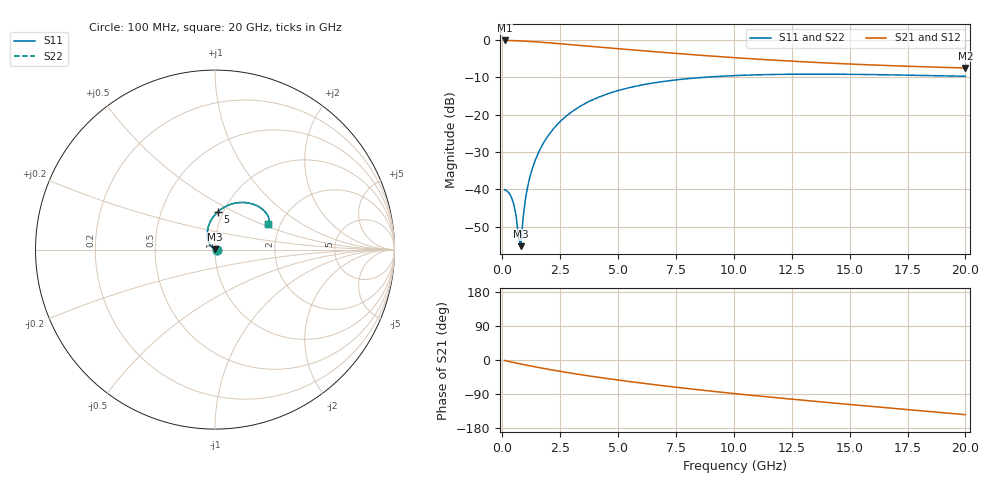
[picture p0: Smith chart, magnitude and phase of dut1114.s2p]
! Touchstone file exported from HFSS 2024.1.0
!  File:  C:/UserFiles/LocalFiles/RDL_TSV_Batchsim/temp_RDL_TSV_1114_1780104220.aedt
!  Generated:  09:35:02 AM May 30, 2026
!  Design:  RDL_TSV
!  Project:  temp_RDL_TSV_1114_1780104220
!  Setup:  Setup1
!  Solution:  Sweep
! Variables:
!  dtsv = 7.99um
!  hbump = 3um
!  htsv = 93.74um
!  ldown = 240.33um
!  lrdl = 233.29um
!  p = 40
!  p1 = 51.81um
!  rhole = 10um
!  subl = 1654.15um
!  t = 450um
!  tdown = 3.57um
!  trdl = 4.26um
!  viad = 10um
!  wdown = 20.47um
!  wrdl = 14.76um
!  xbump = 18um
# GHz S MA R 50.000000
! Terminal data exported
! Port[1] = TM1_1_T1
! Port[2] = TM1_4_T1
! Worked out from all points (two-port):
!   200 points, 100 MHz to 20 GHz, reference 50 ohm
!   highest |S21| = -0.09 dB at 100 MHz (marker M1); lowest = -7.5 dB at 20 GHz (marker M2)
!   |S21| within 3 dB of the highest: start of sweep to 6.548 GHz
!   lowest |S11| = -55.2 dB at 800 MHz (marker M3), VSWR 1.00, Z = 50 + j0.17 ohm
!   |S11| at or under -10 dB: start of sweep to 8.637 GHz
!   |S22| runs from -55.2 to -9.1 dB; largest |S21 - S12| = 9.1e-15
!   S11 on the Smith chart (normalised r, x): 100 MHz: 1.02, +0.00; 5 GHz: 0.94, +0.42; 20 GHz: 1.73, +0.55
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0.1  0.009935 0.3  0.9896 -1.4  0.9896 -1.4  0.009935 0.3
! Gamma 0 0 0 0
! Port Impedance 50 0 50 0
0.3  0.008909 -0.7  0.9873 -4.0  0.9873 -4.0  0.008909 -0.7
0.4  0.007794 -1.2  0.9855 -5.3  0.9855 -5.3  0.007796 -1.2
0.5  0.006266 -0.7  0.9834 -6.7  0.9834 -6.7  0.006268 -0.8
0.6  0.004373 2.9  0.981 -7.9  0.981 -7.9  0.004376 2.9
0.7  0.002291 20.6  0.9782 -9.2  0.9782 -9.2  0.002294 20.5
0.8  0.001741 101.7  0.9751 -10.5  0.9751 -10.5  0.001738 101.5
0.9  0.004258 136.2  0.9717 -11.8  0.9717 -11.8  0.004251 136.2
1  0.007506 142.6  0.9681 -13.0  0.9681 -13.0  0.007498 142.6
1.1  0.01111 143.9  0.9641 -14.3  0.9641 -14.3  0.0111 143.9
1.2  0.01501 143.6  0.96 -15.5  0.96 -15.5  0.015 143.6
1.5  0.02814 139.4  0.9463 -19.1  0.9463 -19.1  0.02812 139.4
1.9  0.04818 132.1  0.9262 -23.6  0.9262 -23.6  0.04815 132.1
2.3  0.06999 124.7  0.905 -27.9  0.905 -27.9  0.06996 124.7
2.8  0.09827 116.0  0.878 -33.1  0.878 -33.1  0.09823 116.0
3.5  0.1374 105.0  0.8411 -39.8  0.8411 -39.8  0.1373 105.0
5  0.2109 85.7  0.7676 -52.9  0.7676 -52.9  0.2109 85.7
6.8  0.2751 68.6  0.6905 -66.9  0.6905 -66.9  0.275 68.6
10.1  0.3356 47.6  0.5801 -89.1  0.5801 -89.1  0.3355 47.6
13.4  0.3504 35.0  0.505 -108.5  0.505 -108.5  0.3503 35.0
16.7  0.3428 28.0  0.4557 -126.6  0.4557 -126.6  0.3426 28.0
20  0.3281 25.6  0.4233 -144.3  0.4233 -144.3  0.3279 25.6
